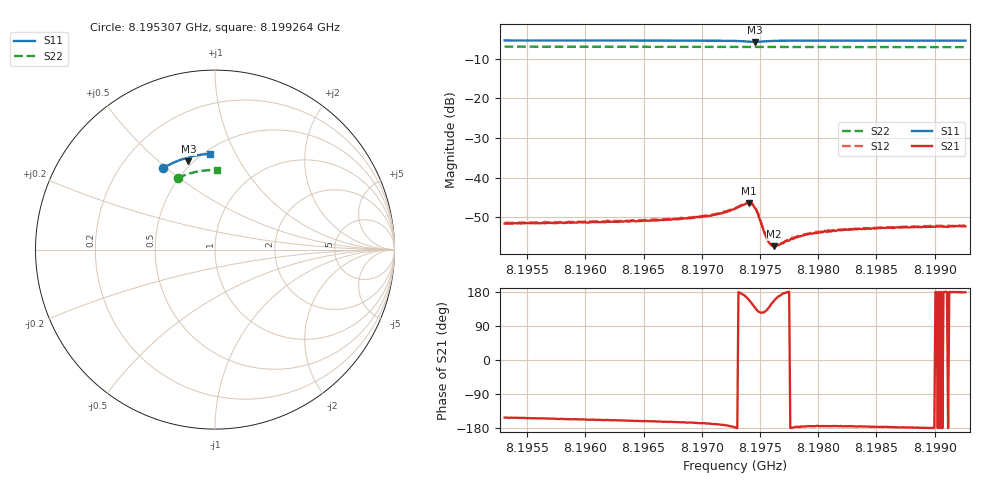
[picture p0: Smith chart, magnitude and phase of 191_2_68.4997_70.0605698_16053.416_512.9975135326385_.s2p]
#  HZ  S  RI  R  50.00
! Rohde & Schwarz Vector Network Analyzer
! Rohde-Schwarz,ZNB20-2Port,1311601062101988,3.16
! Created: UTC 3/20/2024, 5:12:15 PM
! freq[Hz]  re:S11  im:S11  re:S21  im:S21  re:S12  im:S12  re:S22  im:S22
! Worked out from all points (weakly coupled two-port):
!   401 points, 8.195307 GHz to 8.199264 GHz, reference 50 ohm
!   highest |S21| = -46.37 dB at 8.197404 GHz (marker M1); lowest = -57.2 dB at 8.197622 GHz (marker M2)
!   lowest |S11| = -5.8 dB at 8.197454 GHz (marker M3), VSWR 3.12, Z = 23.5 + j31.6 ohm
!   |S11| at or under -10 dB: nowhere
!   |S22| runs from -7.1 to -7.0 dB; largest |S21 - S12| = 0.00026
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8.1953068e9  -0.2906 0.4523  -0.00233 -0.00124  -0.00243 -0.00121  -0.2081 0.3981
8.1959697e9  -0.2494 0.4755  -0.00252 -0.00108  -0.00258 -0.000995  -0.1741 0.4131
8.1966325e9  -0.206 0.4951  -0.00279 -0.000893  -0.0029 -0.00078  -0.1387 0.4251
8.1968601e9  -0.1901 0.5008  -0.00297 -0.000796  -0.00305 -0.000701  -0.1262 0.4284
8.1970679e9  -0.1746 0.5055  -0.00324 -0.000676  -0.00337 -0.00055  -0.1151 0.4313
8.1971866e9  -0.1648 0.5077  -0.00358 -0.000533  -0.00371 -0.00043  -0.1084 0.4328
8.1972855e9  -0.1553 0.5078  -0.00407 -0.000165  -0.00412 4.97e-06  -0.1029 0.4339
8.1973647e9  -0.1466 0.5038  -0.00453 0.000727  -0.00464 0.000962  -0.0984 0.4347
8.1974042e9  -0.1443 0.499  -0.00448 0.00173  -0.00446 0.00191  -0.0961 0.435
8.1974339e9  -0.1457 0.4947  -0.00388 0.00247  -0.00388 0.00272  -0.0947 0.4349
8.1974537e9  -0.1484 0.493  -0.00319 0.00276  -0.00315 0.00295  -0.0937 0.4351
8.1974834e9  -0.153 0.4941  -0.00216 0.00271  -0.00213 0.00285  -0.0922 0.4354
8.1975329e9  -0.1555 0.5008  -0.00123 0.00174  -0.00121 0.00182  -0.0896 0.4361
8.1975625e9  -0.1542 0.5046  -0.00114 0.0012  -0.00115 0.00128  -0.0879 0.4364
8.1975922e9  -0.152 0.5076  -0.00119 0.000808  -0.00116 0.00088  -0.0862 0.4367
8.1976219e9  -0.1497 0.51  -0.00126 0.000535  -0.0013 0.000612  -0.0847 0.4371
8.1976516e9  -0.147 0.5117  -0.00138 0.000353  -0.00137 0.000398  -0.0829 0.4375
8.1978198e9  -0.1331 0.5175  -0.00178 -9.65e-05  -0.00183 -4.71e-06  -0.0735 0.4392
8.1979484e9  -0.1232 0.5204  -0.00196 -0.000191  -0.00201 -0.000125  -0.0662 0.4398
8.1981858e9  -0.1058 0.5243  -0.00218 -0.000204  -0.00223 -0.000131  -0.0528 0.4414
8.1986113e9  -0.0753 0.5293  -0.00234 -0.000129  -0.00238 -8.64e-06  -0.0286 0.4428
8.1992642e9  -0.0288 0.5332  -0.00243 4.28e-05  -0.00249 0.000179  0.00842 0.4424
